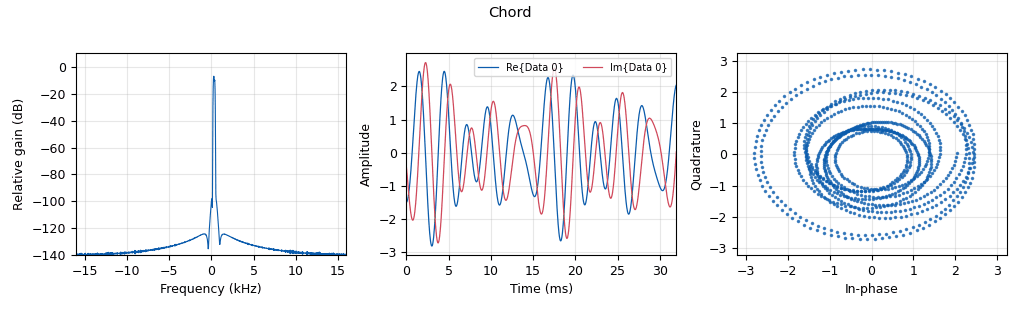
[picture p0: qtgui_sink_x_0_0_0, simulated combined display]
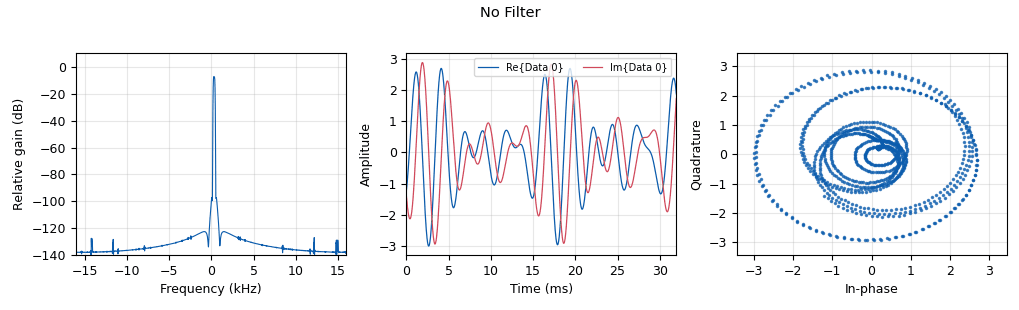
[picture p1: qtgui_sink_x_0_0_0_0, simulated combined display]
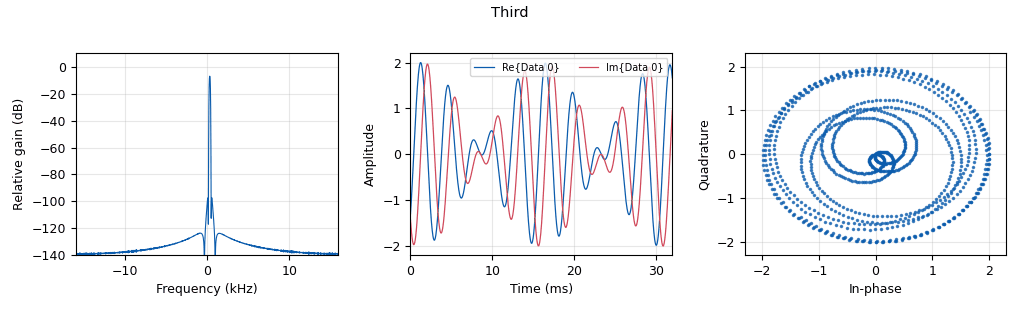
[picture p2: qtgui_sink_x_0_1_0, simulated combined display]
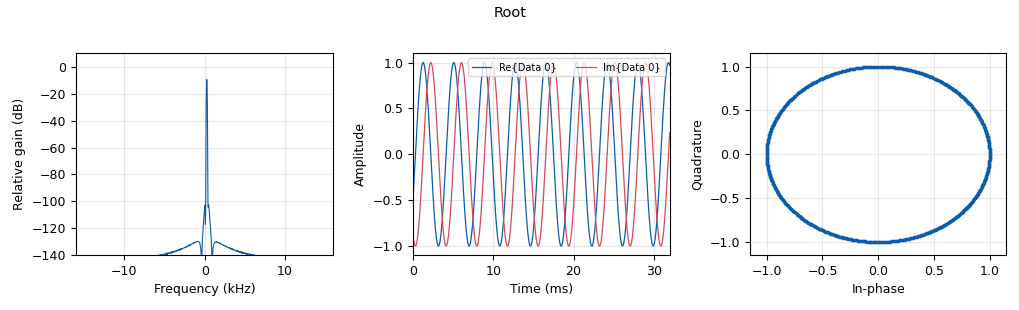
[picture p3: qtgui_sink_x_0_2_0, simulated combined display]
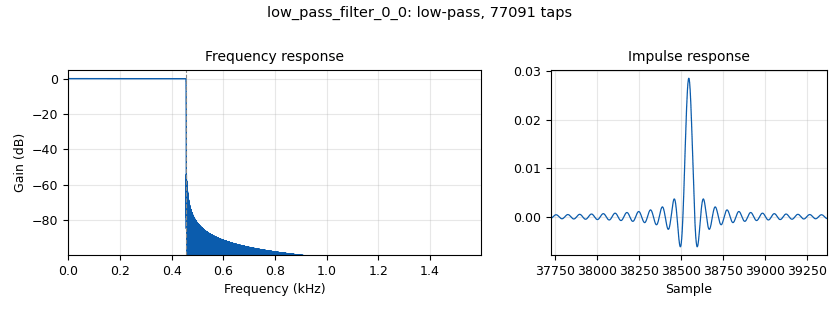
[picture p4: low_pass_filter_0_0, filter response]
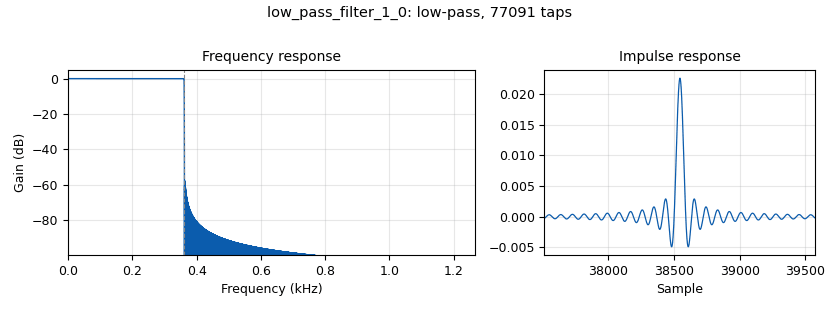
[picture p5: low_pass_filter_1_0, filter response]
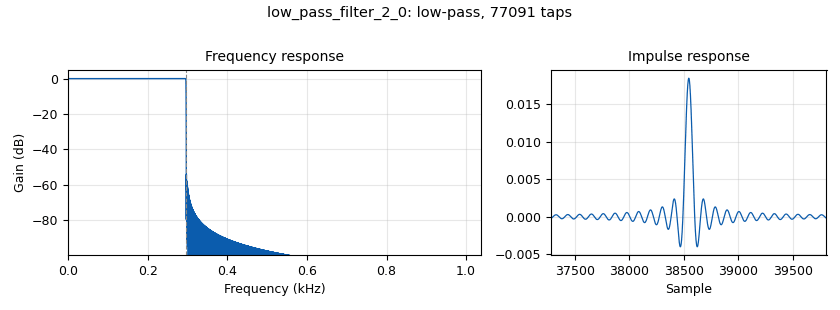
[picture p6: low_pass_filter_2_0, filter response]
options:
  parameters:
    author: vivelpanel
    generate_options: qt_gui
    id: chord
    output_language: python
    title: Note Freqs
  states: {}

blocks:
- name: samp_rate
  id: variable
  parameters:
    value: '32000'
  states: {}
- name: analog_sig_source_x_0
  id: analog_sig_source_x
  parameters:
    amp: '1'
    freq: '261.63'
    offset: '0'
    phase: '0'
    samp_rate: samp_rate
    type: complex
    waveform: analog.GR_COS_WAVE
  states: {}
- name: analog_sig_source_x_1
  id: analog_sig_source_x
  parameters:
    amp: '1'
    freq: '329.63'
    offset: '0'
    phase: '0'
    samp_rate: samp_rate
    type: complex
    waveform: analog.GR_COS_WAVE
  states: {}
- name: analog_sig_source_x_2
  id: analog_sig_source_x
  parameters:
    amp: '1'
    freq: '392'
    offset: '0'
    phase: '0'
    samp_rate: samp_rate
    type: complex
    waveform: analog.GR_COS_WAVE
  states: {}
- name: audio_sink_0
  id: audio_sink
  parameters:
    samp_rate: '48000'
  states: {state: disabled}
- name: audio_source_0
  id: audio_source
  parameters:
    samp_rate: samp_rate
  states: {state: disabled}
- name: blocks_add_xx_0
  id: blocks_add_xx
  parameters:
    num_inputs: '3'
    type: complex
  states: {}
- name: blocks_complex_to_float_0
  id: blocks_complex_to_float
  parameters: {}
  states: {state: disabled}
- name: blocks_float_to_complex_0
  id: blocks_float_to_complex
  parameters: {}
  states: {state: disabled}
- name: blocks_throttle_0
  id: blocks_throttle
  parameters:
    samples_per_second: 48e3
    type: complex
  states: {state: disabled}
- name: blocks_throttle_1
  id: blocks_throttle
  parameters:
    samples_per_second: samp_rate
    type: complex
  states: {}
- name: low_pass_filter_0
  id: low_pass_filter
  parameters:
    cutoff_freq: '456'
    decim: '1'
    gain: '1'
    samp_rate: samp_rate
    type: fir_filter_ccf
    width: '10'
    win: window.WIN_HAMMING
  states: {state: disabled}
- name: low_pass_filter_0_0
  id: low_pass_filter
  parameters:
    cutoff_freq: '456'
    decim: '1'
    gain: '1'
    samp_rate: samp_rate
    type: fir_filter_ccf
    width: '1'
    win: window.WIN_HAMMING
  states: {}
- name: low_pass_filter_1
  id: low_pass_filter
  parameters:
    cutoff_freq: '361'
    decim: '1'
    gain: '1'
    samp_rate: samp_rate
    type: fir_filter_ccf
    width: '10'
    win: window.WIN_HAMMING
  states: {state: disabled}
- name: low_pass_filter_1_0
  id: low_pass_filter
  parameters:
    cutoff_freq: '361'
    decim: '1'
    gain: '1'
    samp_rate: samp_rate
    type: fir_filter_ccf
    width: '1'
    win: window.WIN_HAMMING
  states: {}
- name: low_pass_filter_2
  id: low_pass_filter
  parameters:
    cutoff_freq: '296'
    decim: '1'
    gain: '1'
    samp_rate: samp_rate
    type: fir_filter_ccf
    width: '10'
    win: window.WIN_HAMMING
  states: {state: disabled}
- name: low_pass_filter_2_0
  id: low_pass_filter
  parameters:
    cutoff_freq: '296'
    decim: '1'
    gain: '1'
    samp_rate: samp_rate
    type: fir_filter_ccf
    width: '1'
    win: window.WIN_HAMMING
  states: {}
- name: qtgui_sink_x_0
  id: qtgui_sink_x
  parameters:
    bw: samp_rate
    fc: '0'
    fftsize: '1024'
    gui_hint: '[0,0,1,3]'
    type: complex
  states: {state: disabled}
- name: qtgui_sink_x_0_0
  id: qtgui_sink_x
  parameters:
    bw: samp_rate
    fc: '0'
    fftsize: '1024'
    gui_hint: (1,0)
    name: '"Chord"'
    type: complex
  states: {state: disabled}
- name: qtgui_sink_x_0_0_0
  id: qtgui_sink_x
  parameters:
    bw: samp_rate
    fc: '0'
    fftsize: '1024'
    gui_hint: (1,0)
    name: '"Chord"'
    type: complex
  states: {}
- name: qtgui_sink_x_0_0_0_0
  id: qtgui_sink_x
  parameters:
    bw: samp_rate
    fc: '0'
    fftsize: '1024'
    gui_hint: (0,0,1,3)
    name: '"No Filter"'
    type: complex
  states: {}
- name: qtgui_sink_x_0_1
  id: qtgui_sink_x
  parameters:
    bw: samp_rate
    fc: '0'
    fftsize: '1024'
    gui_hint: (1,1)
    name: '"Third"'
    type: complex
  states: {state: disabled}
- name: qtgui_sink_x_0_1_0
  id: qtgui_sink_x
  parameters:
    bw: samp_rate
    fc: '0'
    fftsize: '1024'
    gui_hint: (1,1)
    name: '"Third"'
    type: complex
  states: {}
- name: qtgui_sink_x_0_2
  id: qtgui_sink_x
  parameters:
    bw: samp_rate
    fc: '0'
    fftsize: '1024'
    gui_hint: (1,2)
    name: '"Root"'
    type: complex
  states: {state: disabled}
- name: qtgui_sink_x_0_2_0
  id: qtgui_sink_x
  parameters:
    bw: samp_rate
    fc: '0'
    fftsize: '1024'
    gui_hint: (1,2)
    name: '"Root"'
    type: complex
  states: {}

connections:
- [analog_sig_source_x_0, '0', blocks_add_xx_0, '0']
- [analog_sig_source_x_1, '0', blocks_add_xx_0, '1']
- [analog_sig_source_x_2, '0', blocks_add_xx_0, '2']
- [audio_source_0, '0', blocks_float_to_complex_0, '0']
- [audio_source_0, '0', blocks_float_to_complex_0, '1']
- [blocks_add_xx_0, '0', blocks_throttle_0, '0']
- [blocks_add_xx_0, '0', blocks_throttle_1, '0']
- [blocks_complex_to_float_0, '0', audio_sink_0, '0']
- [blocks_float_to_complex_0, '0', low_pass_filter_0, '0']
- [blocks_float_to_complex_0, '0', low_pass_filter_1, '0']
- [blocks_float_to_complex_0, '0', low_pass_filter_2, '0']
- [blocks_float_to_complex_0, '0', qtgui_sink_x_0, '0']
- [blocks_throttle_0, '0', blocks_complex_to_float_0, '0']
- [blocks_throttle_1, '0', low_pass_filter_0_0, '0']
- [blocks_throttle_1, '0', low_pass_filter_1_0, '0']
- [blocks_throttle_1, '0', low_pass_filter_2_0, '0']
- [blocks_throttle_1, '0', qtgui_sink_x_0_0_0_0, '0']
- [low_pass_filter_0, '0', qtgui_sink_x_0_0, '0']
- [low_pass_filter_0_0, '0', qtgui_sink_x_0_0_0, '0']
- [low_pass_filter_1, '0', qtgui_sink_x_0_1, '0']
- [low_pass_filter_1_0, '0', qtgui_sink_x_0_1_0, '0']
- [low_pass_filter_2, '0', qtgui_sink_x_0_2, '0']
- [low_pass_filter_2_0, '0', qtgui_sink_x_0_2_0, '0']

metadata:
  file_format: 1
